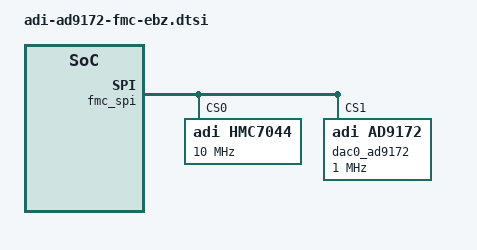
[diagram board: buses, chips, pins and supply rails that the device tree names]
// SPDX-License-Identifier: GPL-2.0
/*
 * dts file for AD9172-FMC-EBZ on Xilinx ZynqMP ZCU102 Rev 1.0
 *
 * Copyright (C) 2018-2022 Analog Devices Inc.
 */

&fmc_spi {
	hmc7044: hmc7044@0 {
		#address-cells = <1>;
		#size-cells = <0>;
		#clock-cells = <1>;
		compatible = "adi,hmc7044";
		reg = <0>;
		spi-max-frequency = <10000000>;

		adi,pll1-clkin-frequencies = <122880000 0 0 0>;

		adi,pll1-loop-bandwidth-hz = <200>;

		adi,vcxo-frequency = <122880000>;

		adi,pll2-output-frequency = <2949120000>;

		adi,sysref-timer-divider = <1024>;
		adi,pulse-generator-mode = <0>;

		adi,clkin0-buffer-mode = <0x15>;
		adi,oscin-buffer-mode = <0x15>;

		adi,gpi-controls = <0x00 0x00 0x00 0x00>;
		adi,gpo-controls = <0x1f 0x2b 0x00 0x00>;

		clock-output-names = "hmc7044_out0", "hmc7044_out1", "hmc7044_out2",
				     "hmc7044_out3", "hmc7044_out4", "hmc7044_out5",
				     "hmc7044_out6", "hmc7044_out7", "hmc7044_out8",
				     "hmc7044_out9", "hmc7044_out10", "hmc7044_out11",
				     "hmc7044_out12", "hmc7044_out13";

		/* jesd204-fsm support */
		jesd204-device;
		#jesd204-cells = <2>;
		jesd204-sysref-provider;
		adi,jesd204-max-sysref-frequency-hz = <2000000>; /* 2 MHz */

		hmc7044_c2: channel@2 {
			reg = <2>;
			adi,extended-name = "DAC_CLK";
			adi,divider = <8>;	// 2949120000
			adi,driver-mode = <1>;	// LVPECL
		};
		hmc7044_c3: channel@3 {
			reg = <3>;
			adi,extended-name = "DAC_SYSREF";
			adi,divider = <512>;	// 5760000
			adi,driver-mode = <1>;	// LVPECL
			adi,jesd204-sysref-chan;
		};
		hmc7044_c12: channel@12 {
			reg = <12>;
			adi,extended-name = "FPGA_CLK";
			adi,divider = <8>;	// 368640000
			adi,driver-mode = <2>;	// LVDS
		};
		hmc7044_c13: channel@13 {
			reg = <13>;
			adi,extended-name = "FPGA_SYSREF";
			adi,divider = <512>;	// 5760000
			adi,driver-mode = <2>;	// LVDS
			adi,jesd204-sysref-chan;
		};
	};

	dac0_ad9172: ad9172@1 {
		#address-cells = <1>;
		#size-cells = <0>;
		compatible = "adi,ad9172";
		reg = <1>;
		spi-max-frequency = <1000000>;
		clocks = <&hmc7044 2>;
		clock-names = "dac_clk";

		adi,dac-rate-khz = <2949120>;
		adi,jesd-link-mode = <10>;

		adi,jesd-subclass = <1>;
		adi,dac-interpolation = <1>;
		adi,channel-interpolation = <1>;
		adi,clock-output-divider = <1>;
		adi,syncoutb-signal-type-lvds-enable;
		adi,scrambling = <1>;
		adi,sysref-mode = <2>; /* SYSREF_CONTINUOUS */

		/* jesd204-fsm support */
		jesd204-device;
		#jesd204-cells = <2>;
		jesd204-top-device = <0>; /* This is the TOP device */
		jesd204-link-ids = <0>;
		jesd204-inputs = <&axi_ad9172_core 0 0>;
	};
};

